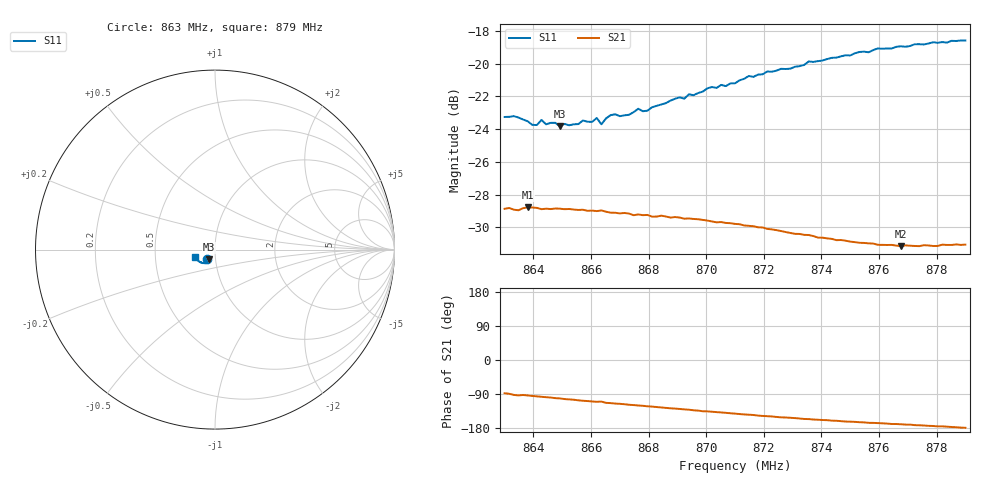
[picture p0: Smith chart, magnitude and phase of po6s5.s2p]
# HZ S RI R 50
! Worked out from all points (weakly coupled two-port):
!   101 points, 863 MHz to 879 MHz, reference 50 ohm
!   highest |S21| = -28.78 dB at 863.8 MHz (marker M1); lowest = -31.1 dB at 876.76 MHz (marker M2)
!   lowest |S11| = -23.8 dB at 864.92 MHz (marker M3), VSWR 1.14, Z = 46.3 - j4.98 ohm
!   |S11| at or under -10 dB: start of sweep to end of sweep
!   S12 and S22 are empty: the file has one direction only
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8.63e8  -0.0438 -0.053  0.00145 -0.036  0 0  0 0
8.638e8  -0.0404 -0.0531  -0.00221 -0.0363  0 0  0 0
8.6412e8  -0.038 -0.0527  -0.00377 -0.0361  0 0  0 0
8.6428e8  -0.0387 -0.0551  -0.0044 -0.0357  0 0  0 0
8.6444e8  -0.0376 -0.0534  -0.00513 -0.0357  0 0  0 0
8.6492e8  -0.0358 -0.0536  -0.0071 -0.0354  0 0  0 0
8.6572e8  -0.0346 -0.0575  -0.0108 -0.0342  0 0  0 0
8.6604e8  -0.0328 -0.0578  -0.0119 -0.0336  0 0  0 0
8.662e8  -0.0348 -0.0587  -0.0124 -0.0333  0 0  0 0
8.6636e8  -0.033 -0.0563  -0.012 -0.0336  0 0  0 0
8.6668e8  -0.0338 -0.0609  -0.0141 -0.0321  0 0  0 0
8.6732e8  -0.0331 -0.0615  -0.0164 -0.0308  0 0  0 0
8.6764e8  -0.0353 -0.0637  -0.0173 -0.03  0 0  0 0
8.6796e8  -0.0341 -0.0633  -0.0184 -0.0292  0 0  0 0
8.6844e8  -0.0351 -0.0663  -0.0199 -0.028  0 0  0 0
8.7004e8  -0.042 -0.0728  -0.0237 -0.0232  0 0  0 0
8.71e8  -0.0476 -0.073  -0.0254 -0.0202  0 0  0 0
8.7148e8  -0.0518 -0.0757  -0.026 -0.0186  0 0  0 0
8.7372e8  -0.0675 -0.0755  -0.0274 -0.0116  0 0  0 0
8.7644e8  -0.0913 -0.0636  -0.0275 -0.00541  0 0  0 0
8.7676e8  -0.0956 -0.0602  -0.0273 -0.005  0 0  0 0
8.79e8  -0.1105 -0.0404  -0.028 -0.000536  0 0  0 0
